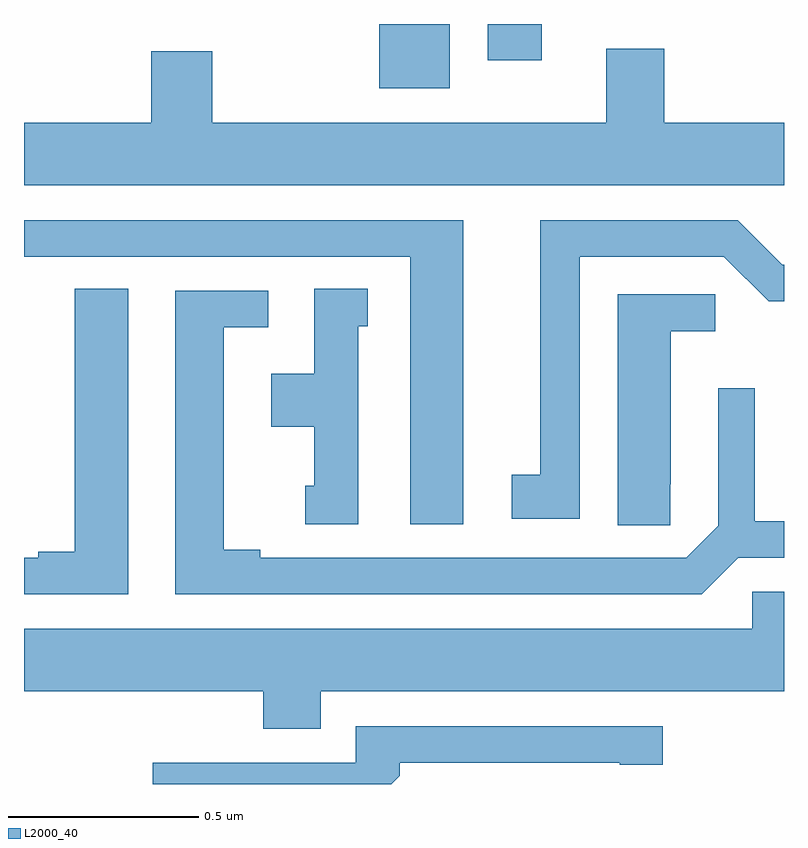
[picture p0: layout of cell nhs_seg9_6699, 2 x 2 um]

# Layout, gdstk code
import gdstk
lib = gdstk.Library(unit=1e-6, precision=1e-09)
def R(c, l, rs):  # rectangles x0, y0, x1, y1
    for r in rs: c.add(gdstk.rectangle(r[:2], r[2:], *l))
def P(c, l, *ps):  # polygons
    for p in ps: c.add(gdstk.Polygon(p, *l))
L2000_40 = (2000, 40)

nhs_seg9_6699 = lib.new_cell('nhs_seg9_6699')
R(nhs_seg9_6699, L2000_40, [(195.935,1207.331,196.12,1207.5), (196.22,1207.404,196.363,1207.5)])
P(nhs_seg9_6699, L2000_40, [(197,1207.24),(196.685,1207.24),(196.685,1207.435),(196.532,1207.435),(196.532,1207.24),(195.495,1207.24),(195.495,1207.428),(195.335,1207.428),(195.335,1207.24),(195,1207.24),(195,1207.076),(197,1207.076)],
  [(196.156,1206.984),(195,1206.984),(195,1206.888),(196.016,1206.888),(196.016,1206.183),(196.156,1206.183)],
  [(196.462,1206.888),(196.842,1206.888),(196.96,1206.77),(197,1206.77),(197,1206.867),(196.995,1206.867),(196.878,1206.984),(196.358,1206.984),(196.358,1206.314),(196.284,1206.314),(196.284,1206.198),(196.462,1206.198)],
  [(195.88,1206.705),(195.904,1206.705),(195.904,1206.803),(195.764,1206.803),(195.764,1206.58),(195.65,1206.58),(195.65,1206.44),(195.764,1206.44),(195.764,1206.285),(195.74,1206.285),(195.74,1206.183),(195.88,1206.183)],
  [(195.274,1206.803),(195.134,1206.803),(195.134,1206.111),(195.038,1206.111),(195.038,1206.096),(195,1206.096),(195,1206),(195.274,1206)],
  [(196.879,1206.096),(197,1206.096),(197,1206.192),(196.923,1206.192),(196.923,1206.541),(196.827,1206.541),(196.827,1206.18),(196.743,1206.096),(195.622,1206.096),(195.622,1206.116),(195.526,1206.116),(195.526,1206.702),(195.643,1206.702),(195.643,1206.798),(195.398,1206.798),(195.398,1206),(196.783,1206)],
  [(196.701,1206.289),(196.702,1206.289),(196.702,1206.692),(196.819,1206.692),(196.819,1206.789),(196.562,1206.789),(196.562,1206.181),(196.701,1206.181)],
  [(195.781,1205.744),(197,1205.744),(197,1206.006),(196.917,1206.006),(196.917,1205.908),(195,1205.908),(195,1205.744),(195.629,1205.744),(195.629,1205.645),(195.781,1205.645)],
  [(195.989,1205.522),(195.989,1205.556),(196.568,1205.556),(196.568,1205.551),(196.681,1205.551),(196.681,1205.652),(195.873,1205.652),(195.873,1205.556),(195.339,1205.556),(195.339,1205.5),(195.967,1205.5)])

lib.write_gds('nhs_seg9_6699.gds')
